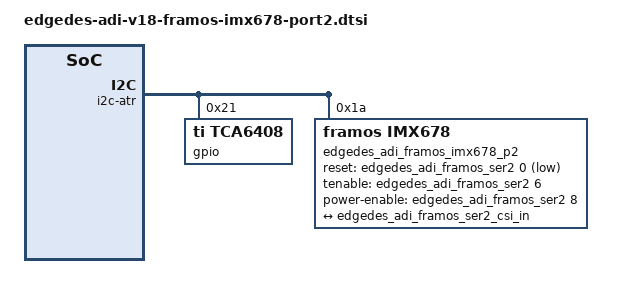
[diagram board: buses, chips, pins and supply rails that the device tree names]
// SPDX-License-Identifier: GPL-2.0-only
// SPDX-FileCopyrightText: Copyright (c) 2026 CompuLab Ltd.

fragment@3 {
	target = <&edgedes_adi_framos_i2c2>;
	__overlay__ {
		#address-cells = <1>;
		#size-cells = <0>;

		edgedes_adi_framos_ser2: serializer@40 {
			compatible = "maxim,max96793", "maxim,max96717f";
			reg = <0x40>;
			gpio-controller;
			#gpio-cells = <2>;
			#clock-cells = <0>;
			/* Pool for native TCA6408 0x21 and IMX678 0x1a; ATR assigns dynamically. */
			i2c-alias-pool = <0x24 0x1d>;
			pinctrl-names = "default";
			pinctrl-0 = <&edgedes_adi_framos_rclk_p2>;

			edgedes_adi_framos_rclk_p2: rclk-pins {
				pins = "mfp4";
				function = "rclkout";
				/* Qualified 37.125-MHz clock uses the fastest slew. */
				slew-rate = <0>;
			};

			ports {
				#address-cells = <1>;
				#size-cells = <0>;
				port@0 {
					reg = <0>;
					edgedes_adi_framos_ser2_csi_in: endpoint {
						bus-type = <MEDIA_BUS_TYPE_CSI2_DPHY>;
						clock-lanes = <0>;
						data-lanes = <1 2 3 4>;
						lane-polarities = <0 0 0 0 0>;
						remote-endpoint = <&edgedes_adi_framos_imx678_p2_out>;
					};
				};
				port@1 {
					reg = <1>;
					edgedes_adi_framos_ser2_out: endpoint {
						remote-endpoint = <&edgedes_adi_framos_gmsl2_in>;
					};
				};
			};

			i2c-atr {
				#address-cells = <1>;
				#size-cells = <0>;
				i2c@0 {
					reg = <0>;
					#address-cells = <1>;
					#size-cells = <0>;

					/* Expose the expander for diagnostics; do not change strap states. */
					gpio@21 {
						compatible = "ti,tca6408";
						reg = <0x21>;
						gpio-controller;
						#gpio-cells = <2>;
						gpio-line-names =
							"SLAMODE1", "SLAMODE2", "PW_EN_1", "TOUT0",
							"XMASTER0", "TOUT2", "SYS_PW_EN", "TOUT1";
					};

					edgedes_adi_framos_imx678_p2: imx678@1a {
						compatible = "framos,imx678";
						reg = <0x1a>;
						status = "okay";
						/* Driver: PW_EN low 5 ms, INCK on, XCLR low 200 ms. */
						reset-gpios = <&edgedes_adi_framos_ser2 0 GPIO_ACTIVE_LOW>;
						tenable-gpios = <&edgedes_adi_framos_ser2 6 GPIO_ACTIVE_HIGH>;
						power-enable-gpios = <&edgedes_adi_framos_ser2 8 GPIO_ACTIVE_HIGH>;
						clocks = <&edgedes_adi_framos_ser2>;
						clock-names = "mclk";
						mclk = "mclk";
						assigned-clocks = <&edgedes_adi_framos_ser2>;
						assigned-clock-rates = <37125000>;
						/* Native sensor CSI virtual channel; MAX96724 maps it downstream. */
						vc-id = <0>;
						devnode = "video2";
						/* Preserve geometry from the qualified single-port IMX678 profile. */
						physical_w = "20.00";
						physical_h = "16.80";
						sensor_model = "imx678";
						post_crop_frame_drop = "0";
						use_decibel_gain = "true";
						delayed_gain = "false";
						use_sensor_mode_id = "true";

#define EDGEDES_IMX678_VC_ID "2"
#include "edgedes-adi-v18-framos-imx678-modes.dtsi"
#undef EDGEDES_IMX678_VC_ID

						ports {
							#address-cells = <1>;
							#size-cells = <0>;
							port@0 {
								reg = <0>;
								edgedes_adi_framos_imx678_p2_out: endpoint {
									/* NVIDIA leaf metadata: downstream CSI-C, four lanes. */
									port-index = <2>;
									bus-width = <4>;
									bus-type = <MEDIA_BUS_TYPE_CSI2_DPHY>;
									clock-lanes = <0>;
									data-lanes = <1 2 3 4>;
									lane-polarities = <0 0 0 0 0>;
									/* Sensor CSI 1188 Mb/s/lane; link-frequencies is half the bit rate. */
									link-frequencies = /bits/ 64 <594000000>;
									vc-id = <0>;
									remote-endpoint = <&edgedes_adi_framos_ser2_csi_in>;
								};
							};
						};
					};
				};
			};
		};
	};
};
